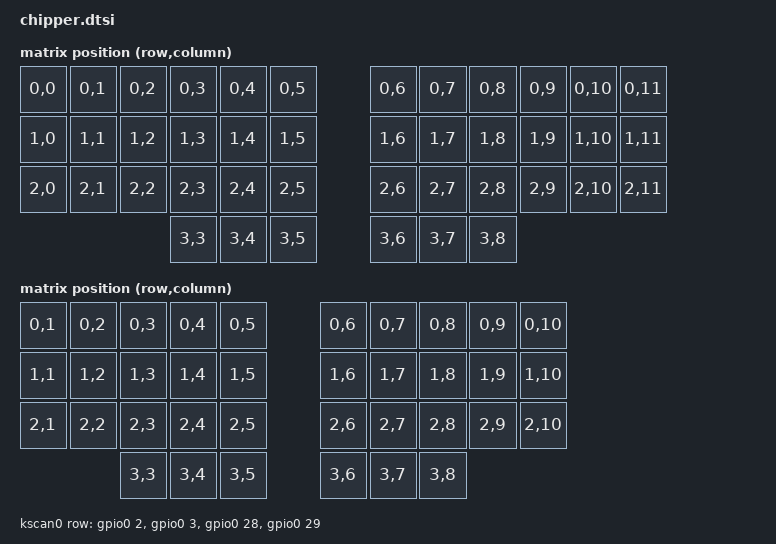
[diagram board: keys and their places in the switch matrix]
/*
 * Copyright (c) 2020 Pete Johanson
 *
 * SPDX-License-Identifier: MIT
 */

#include <dt-bindings/zmk/matrix_transform.h>

/ {
	chosen {
		zmk,kscan = &kscan0;
		zmk,matrix_transform = &five_column_transform;
	};

	default_transform: keymap_transform_0 {
		compatible = "zmk,matrix-transform";
		columns = <12>;
		rows = <4>;
// | SW1  | SW2  | SW3  | SW4  | SW5  | SW6  |   | SW6  | SW5  | SW4  | SW3  | SW2  | SW1  |
// | SW7  | SW8  | SW9  | SW10 | SW11 | SW12 |   | SW12 | SW11 | SW10 | SW9  | SW8  | SW7  |
// | SW13 | SW14 | SW15 | SW16 | SW17 | SW18 |   | SW18 | SW17 | SW16 | SW15 | SW14 | SW13 |
//                      | SW19 | SW20 | SW21 |   | SW21 | SW20 | SW19 |
		map = <
RC(0,0) RC(0,1) RC(0,2) RC(0,3) RC(0,4) RC(0,5)  RC(0,6) RC(0,7) RC(0,8) RC(0,9) RC(0,10) RC(0,11)
RC(1,0) RC(1,1) RC(1,2) RC(1,3) RC(1,4) RC(1,5)  RC(1,6) RC(1,7) RC(1,8) RC(1,9) RC(1,10) RC(1,11)
RC(2,0) RC(2,1) RC(2,2) RC(2,3) RC(2,4) RC(2,5)  RC(2,6) RC(2,7) RC(2,8) RC(2,9) RC(2,10) RC(2,11)
                        RC(3,3) RC(3,4) RC(3,5)  RC(3,6) RC(3,7) RC(3,8)
		>;
	};

	five_column_transform: keymap_transform_1 {
		compatible = "zmk,matrix-transform";
		columns = <10>;
		rows = <4>;
// | SW2  | SW3  | SW4  | SW5  | SW6  |   | SW6  | SW5  | SW4  | SW3  | SW2  |
// | SW8  | SW9  | SW10 | SW11 | SW12 |   | SW12 | SW11 | SW10 | SW9  | SW8  |
// | SW14 | SW15 | SW16 | SW17 | SW18 |   | SW18 | SW17 | SW16 | SW15 | SW14 |
//                      | SW19 | SW20 | SW21 |   | SW21 | SW20 | SW19 |
		map = <
RC(0,1) RC(0,2) RC(0,3) RC(0,4) RC(0,5)  RC(0,6) RC(0,7) RC(0,8) RC(0,9) RC(0,10)
RC(1,1) RC(1,2) RC(1,3) RC(1,4) RC(1,5)  RC(1,6) RC(1,7) RC(1,8) RC(1,9) RC(1,10)
RC(2,1) RC(2,2) RC(2,3) RC(2,4) RC(2,5)  RC(2,6) RC(2,7) RC(2,8) RC(2,9) RC(2,10)
                        RC(3,3) RC(3,4) RC(3,5)  RC(3,6) RC(3,7) RC(3,8)
		>;
	};

	kscan0: kscan {
		compatible = "zmk,kscan-gpio-matrix";
		label = "KSCAN";

		diode-direction = "col2row";
		row-gpios
			= <&gpio0 2 (GPIO_ACTIVE_HIGH | GPIO_PULL_DOWN)>     //Row0
			, <&gpio0 3 (GPIO_ACTIVE_HIGH | GPIO_PULL_DOWN)>     //Row1
			, <&gpio0 28 (GPIO_ACTIVE_HIGH | GPIO_PULL_DOWN)>    //Row2
			, <&gpio0 29 (GPIO_ACTIVE_HIGH | GPIO_PULL_DOWN)>    //Row3
			;
		
	};
   
	// TODO: per-key RGB node(s)?
};


&pinctrl {
	spi0_default: spi0_default {
		group1 {
			psels = <NRF_PSEL(SPIM_SCK, 0, 5)>,
				<NRF_PSEL(SPIM_MOSI, 0, 4)>,
				<NRF_PSEL(SPIM_MISO, 0, 8)>;
		};
	};
	spi0_sleep: spi0_sleep {
		group1 {
			psels = <NRF_PSEL(SPIM_SCK, 0, 5)>,
				<NRF_PSEL(SPIM_MOSI, 0, 4)>,
				<NRF_PSEL(SPIM_MISO, 0, 8)>;
			low-power-enable;
		};
	};	
};


display_spi: &spi0 {
	compatible = "nordic,nrf-spim";
	pinctrl-0 = <&spi0_default>;
	pinctrl-1 = <&spi0_sleep>;
	pinctrl-names = "default", "sleep";
	cs-gpios = <&gpio0 9 GPIO_ACTIVE_HIGH>;
};

&display_spi {
	status = "okay";
	sharp: ls0xx@0 {
		compatible = "sharp,ls0xx";
		label = "DISPLAY";
		spi-max-frequency = <2000000>;
		reg = <0>;
		width = <160>;
		height = <68>;
		//disp-en-gpios = <&gpio0 6 GPIO_ACTIVE_HIGH>; //testing setting this to 6 from 23
	};
};

/ {
  chosen {
    zephyr,display = &sharp;
  };
};

&usbd {
	status = "okay";
};

